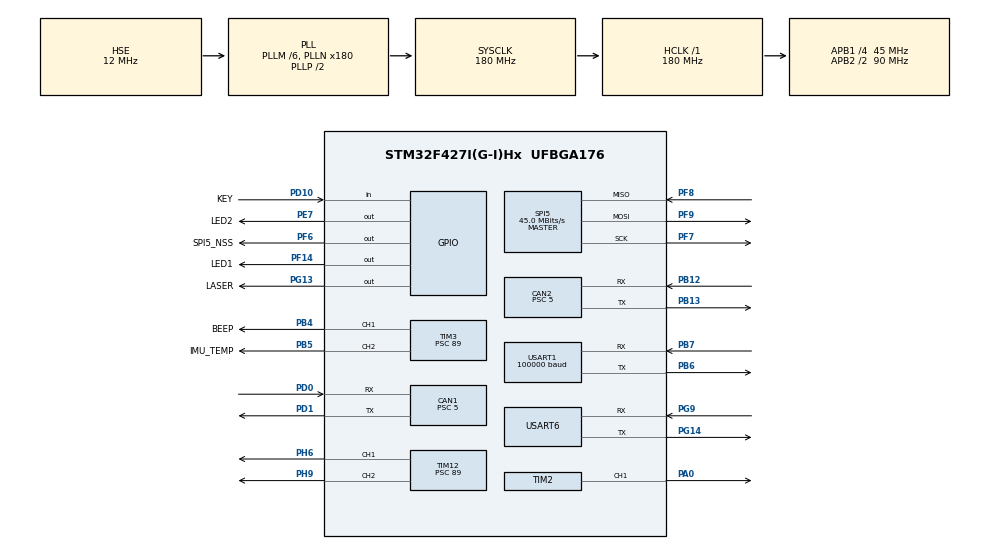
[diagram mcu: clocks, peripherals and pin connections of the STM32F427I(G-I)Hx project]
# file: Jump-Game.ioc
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CAN1.ABOM=ENABLE
CAN1.BS1=CAN_BS1_5TQ
CAN1.BS2=CAN_BS2_3TQ
CAN1.CalculateTimeBit=1000
CAN1.CalculateTimeQuantum=111.11111111111111
CAN1.Prescaler=5
CAN2.ABOM=ENABLE
CAN2.BS1=CAN_BS1_5TQ
CAN2.BS2=CAN_BS2_3TQ
CAN2.CalculateTimeBit=1000
CAN2.CalculateTimeQuantum=111.11111111111111
CAN2.Prescaler=5
Dma.Request0=USART1_RX
Dma.Request1=USART6_RX
Dma.USART1_RX.0.Direction=DMA_PERIPH_TO_MEMORY
Dma.USART1_RX.0.FIFOMode=DMA_FIFOMODE_DISABLE
Dma.USART1_RX.0.Instance=DMA2_Stream2
Dma.USART1_RX.0.MemDataAlignment=DMA_MDATAALIGN_BYTE
Dma.USART1_RX.0.MemInc=DMA_MINC_ENABLE
Dma.USART1_RX.0.Mode=DMA_NORMAL
Dma.USART1_RX.0.PeriphDataAlignment=DMA_PDATAALIGN_BYTE
Dma.USART1_RX.0.PeriphInc=DMA_PINC_DISABLE
Dma.USART1_RX.0.Priority=DMA_PRIORITY_LOW
Dma.USART6_RX.1.Direction=DMA_PERIPH_TO_MEMORY
Dma.USART6_RX.1.FIFOMode=DMA_FIFOMODE_DISABLE
Dma.USART6_RX.1.Instance=DMA2_Stream1
Dma.USART6_RX.1.MemDataAlignment=DMA_MDATAALIGN_BYTE
Dma.USART6_RX.1.MemInc=DMA_MINC_ENABLE
Dma.USART6_RX.1.Mode=DMA_NORMAL
Dma.USART6_RX.1.PeriphDataAlignment=DMA_PDATAALIGN_BYTE
Dma.USART6_RX.1.PeriphInc=DMA_PINC_DISABLE
Dma.USART6_RX.1.Priority=DMA_PRIORITY_LOW
Mcu.Family=STM32F4
Mcu.Name=STM32F427I(G-I)Hx
Mcu.Package=UFBGA176
NVIC.CAN1_RX0_IRQn=true\:0\:0\:false\:false\:true\:true
NVIC.CAN2_RX0_IRQn=true\:0\:0\:false\:false\:true\:true
NVIC.DMA2_Stream1_IRQn=true\:0\:0\:false\:false\:true\:false
NVIC.DMA2_Stream2_IRQn=true\:0\:0\:false\:false\:true\:false
NVIC.PriorityGroup=NVIC_PRIORITYGROUP_4
NVIC.TIM6_DAC_IRQn=true\:0\:0\:false\:false\:true\:false
NVIC.TimeBase=TIM6_DAC_IRQn
NVIC.TimeBaseIP=TIM6
NVIC.USART1_IRQn=true\:0\:0\:false\:false\:true\:true
NVIC.USART6_IRQn=true\:0\:0\:false\:false\:true\:true
PA0/WKUP.Signal=S_TIM2_CH1_ETR
PA13.Mode=Serial_Wire
PA13.Signal=SYS_JTMS-SWDIO
PA14.Mode=Serial_Wire
PA14.Signal=SYS_JTCK-SWCLK
PB12.Mode=Slave
PB12.Signal=CAN2_RX
PB13.Mode=Slave
PB13.Signal=CAN2_TX
PB4.GPIO_Label=BEEP
PB4.Signal=S_TIM3_CH1
PB5.GPIO_Label=IMU_TEMP
PB5.Signal=S_TIM3_CH2
PB6.Mode=Asynchronous
PB6.Signal=USART1_TX
PB7.Mode=Asynchronous
PB7.Signal=USART1_RX
PD0.Mode=Master
PD0.Signal=CAN1_RX
PD1.Mode=Master
PD1.Signal=CAN1_TX
PD10.GPIO_Label=KEY
PD10.Signal=GPIO_Input
PE7.GPIO_Label=LED2
PE7.Signal=GPIO_Output
PF14.GPIO_Label=LED1
PF14.Signal=GPIO_Output
PF6.GPIO_Label=SPI5_NSS
PF6.Signal=GPIO_Output
PF7.Mode=Full_Duplex_Master
PF7.Signal=SPI5_SCK
PF8.Mode=Full_Duplex_Master
PF8.Signal=SPI5_MISO
PF9.Mode=Full_Duplex_Master
PF9.Signal=SPI5_MOSI
PG13.GPIO_Label=LASER
PG13.Signal=GPIO_Output
PG14.Mode=Asynchronous
PG14.Signal=USART6_TX
PG9.Mode=Asynchronous
PG9.Signal=USART6_RX
PH0/OSC_IN.Mode=HSE-External-Oscillator
PH0/OSC_IN.Signal=RCC_OSC_IN
PH1/OSC_OUT.Mode=HSE-External-Oscillator
PH1/OSC_OUT.Signal=RCC_OSC_OUT
PH6.Signal=S_TIM12_CH1
PH9.Signal=S_TIM12_CH2
ProjectManager.HeapSize=0x200
ProjectManager.StackSize=0x400
ProjectManager.TargetToolchain=MDK-ARM V5
RCC.48MHZClocksFreq_Value=90000000
RCC.AHBFreq_Value=180000000
RCC.APB1CLKDivider=RCC_HCLK_DIV4
RCC.APB1Freq_Value=45000000
RCC.APB1TimFreq_Value=90000000
RCC.APB2CLKDivider=RCC_HCLK_DIV2
RCC.APB2Freq_Value=90000000
RCC.APB2TimFreq_Value=180000000
RCC.CortexFreq_Value=180000000
RCC.HCLKFreq_Value=180000000
RCC.HSE_VALUE=12000000
RCC.HSI_VALUE=16000000
RCC.LSE_VALUE=32768
RCC.PLLM=6
RCC.PLLN=180
RCC.PLLSourceVirtual=RCC_PLLSOURCE_HSE
RCC.SYSCLKFreq_VALUE=180000000
RCC.SYSCLKSource=RCC_SYSCLKSOURCE_PLLCLK
RCC.VCOOutputFreq_Value=360000000
SH.S_TIM12_CH1.0=TIM12_CH1,PWM Generation1 CH1
SH.S_TIM12_CH2.0=TIM12_CH2,PWM Generation2 CH2
SH.S_TIM2_CH1_ETR.0=TIM2_CH1,PWM Generation1 CH1
SH.S_TIM3_CH1.0=TIM3_CH1,PWM Generation1 CH1
SH.S_TIM3_CH2.0=TIM3_CH2,PWM Generation2 CH2
SPI5.CalculateBaudRate=45.0 MBits/s
SPI5.Direction=SPI_DIRECTION_2LINES
SPI5.Mode=SPI_MODE_MASTER
SPI5.VirtualType=VM_MASTER
TIM12.Channel-PWM\ Generation1\ CH1=TIM_CHANNEL_1
TIM12.Channel-PWM\ Generation2\ CH2=TIM_CHANNEL_2
TIM12.Period=20000
TIM12.Prescaler=89
TIM12.Pulse-PWM\ Generation1\ CH1=1000
TIM12.Pulse-PWM\ Generation2\ CH2=1000
TIM2.Channel-PWM\ Generation1\ CH1=TIM_CHANNEL_1
TIM2.Period=20000
TIM2.Prescaler=89
TIM2.Pulse-PWM\ Generation1\ CH1=1500
TIM3.Channel-PWM\ Generation1\ CH1=TIM_CHANNEL_1
TIM3.Channel-PWM\ Generation2\ CH2=TIM_CHANNEL_2
TIM3.Period=286
TIM3.Prescaler=89
USART1.BaudRate=100000
USART1.VirtualMode=VM_ASYNC
USART6.VirtualMode=VM_ASYNC
VP_SYS_VS_tim6.Mode=TIM6
VP_TIM12_VS_ClockSourceINT.Mode=Internal
VP_TIM2_VS_ClockSourceINT.Mode=Internal
VP_TIM3_VS_ClockSourceINT.Mode=Internal
board=Jump-Game

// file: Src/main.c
/**
  ******************************************************************************
  * File Name          : main.c
  * Description        : Main program body
  ******************************************************************************
  ** This notice applies to any and all portions of this file
  * that are not between comment pairs USER CODE BEGIN and
  * USER CODE END. Other portions of this file, whether
  * inserted by the user or by software development tools
  * are owned by their respective copyright owners.
  *
  * COPYRIGHT(c) 2018 STMicroelectronics
  *
  * Redistribution and use in source and binary forms, with or without modification,
  * are permitted provided that the following conditions are met:
  *   1. Redistributions of source code must retain the above copyright notice,
  *      this list of conditions and the following disclaimer.
  *   2. Redistributions in binary form must reproduce the above copyright notice,
  *      this list of conditions and the following disclaimer in the documentation
  *      and/or other materials provided with the distribution.
  *   3. Neither the name of STMicroelectronics nor the names of its contributors
  *      may be used to endorse or promote products derived from this software
  *      without specific prior written permission.
  *
  * THIS SOFTWARE IS PROVIDED BY THE COPYRIGHT HOLDERS AND CONTRIBUTORS "AS IS"
  * AND ANY EXPRESS OR IMPLIED WARRANTIES, INCLUDING, BUT NOT LIMITED TO, THE
  * IMPLIED WARRANTIES OF MERCHANTABILITY AND FITNESS FOR A PARTICULAR PURPOSE ARE
  * DISCLAIMED. IN NO EVENT SHALL THE COPYRIGHT HOLDER OR CONTRIBUTORS BE LIABLE
  * FOR ANY DIRECT, INDIRECT, INCIDENTAL, SPECIAL, EXEMPLARY, OR CONSEQUENTIAL
  * DAMAGES (INCLUDING, BUT NOT LIMITED TO, PROCUREMENT OF SUBSTITUTE GOODS OR
  * SERVICES; LOSS OF USE, DATA, OR PROFITS; OR BUSINESS INTERRUPTION) HOWEVER
  * CAUSED AND ON ANY THEORY OF LIABILITY, WHETHER IN CONTRACT, STRICT LIABILITY,
  * OR TORT (INCLUDING NEGLIGENCE OR OTHERWISE) ARISING IN ANY WAY OUT OF THE USE
  * OF THIS SOFTWARE, EVEN IF ADVISED OF THE POSSIBILITY OF SUCH DAMAGE.
  *
  ******************************************************************************
  */

#include "main.h"
#include "stm32f4xx_hal.h"
#include "can.h"
#include "dma.h"
#include "spi.h"
#include "tim.h"
#include "usart.h"
#include "gpio.h"

/* USER CODE BEGIN Includes */
#include "bsp_can.h"
#include "bsp_uart.h"
#include "pid.h"
/* USER CODE END Includes */

/* USER CODE BEGIN PV */
/* Private variables ---------------------------------------------------------*/
typedef enum
{
	noaction = 0,				//什么也不做
	manualstart,				//手动触碰，一定时间后松开
	ready,							//读取数据，准备放下
	touch,							//放下竹签，触碰屏幕
	jumping,						//抬起
}jump_state_t;
jump_state_t jump_state;

uint32_t manual_touch_time = 750;
uint32_t jump_time;
uint32_t wait_time = 0;

int32_t totalecd_target;
int16_t speedtar_3508;
int16_t current_3508;

#define touch_ecd		2000
#define origin_ecd -2000

float param_a = 1;			//1900
float param_b = 0;
float measure_distance;

extern float rece_distance_midvalue;

//#define origin_ccr	1220		//1220
//#define touch_ccr		1100
/* USER CODE END PV */

void SystemClock_Config(void);

/* USER CODE BEGIN PFP */
/* Private function prototypes -----------------------------------------------*/

/* USER CODE END PFP */

int main(void)
{

	{

  /* MCU Configuration----------------------------------------------------------*/

  /* Reset of all peripherals, Initializes the Flash interface and the Systick. */
  HAL_Init();

  /* Configure the system clock */
  SystemClock_Config();

  /* Initialize all configured peripherals */
  MX_GPIO_Init();
  MX_DMA_Init();
  MX_CAN1_Init();
  MX_CAN2_Init();
  MX_SPI5_Init();
  MX_USART1_UART_Init();
  MX_TIM3_Init();
  MX_TIM12_Init();
  MX_TIM2_Init();
  MX_USART6_UART_Init();

  /* USER CODE BEGIN 2 */
	dbus_init();
	manifold_uart_init();
	}

	my_can_filter_init_recv_all();
  HAL_CAN_Receive_IT(&hcan1, CAN_FIFO0);
	HAL_CAN_Receive_IT(&hcan2, CAN_FIFO0); //放后面会死机

	HAL_Delay(3000);

//	HAL_TIM_PWM_Start(&htim8, TIM_CHANNEL_1); // test
	HAL_TIM_PWM_Start(&htim2, TIM_CHANNEL_1);

//	ReadAllFromFlash();
	PID_struct_init(&pid_3508,			 POSITION_PID, 5000, 2000, 0.3f, 0.0f,  0);
	PID_struct_init(&pid_3508_speed, POSITION_PID, 6000, 2000, 6, 	0.0f,  	0);

	totalecd_target = origin_ecd;
  /* USER CODE END 2 */

  /* Infinite loop */
  while (1)
  {

  /* USER CODE BEGIN 3 */
		static uint32_t touch_start_tick;
		static uint32_t jump_start_tick;
		static uint8_t last_rc_sw1 = 0;
		static uint8_t last_rc_sw2 = 0;
		uint32_t now = HAL_GetTick();

		if(rc.sw1 == RC_MI)
			jump_state = noaction;

		switch(jump_state)
		{
			case noaction:
			{
				/* 右拨杆打上之后可用ch2摇杆控制位置，打中归零 */
				if(rc.sw2 == RC_UP)
				{
					totalecd_target += rc.ch2;
				}

				else
				{
					if(rc.sw2 == RC_MI && last_rc_sw2 == RC_UP)
					{
						moto_ecd_reset(&moto_3508);
					}

					totalecd_target = origin_ecd;
					if(rc.sw1 == RC_DN)
					{
						jump_state = ready;
					}
					else if(rc.sw1 == RC_UP && last_rc_sw1 != RC_UP)
					{
						jump_state = manualstart;
						touch_start_tick = now;
					}
				}
			}
			break;

			case manualstart:
			{
				totalecd_target = touch_ecd;
				if(now - touch_start_tick > manual_touch_time)
				{
					jump_state = noaction;								//release the steering
				}
			}
			break;

			case ready:
			{
				totalecd_target = origin_ecd;
				if(rece_data.sofa == 'a' && rece_data.sof5 == '5' && rece_data.endf1 == 'f' && rece_data.endf2 == 'f' \
					 && rece_flag == 1)
				{
					jump_time = rece_data.time;				//获取应该按下的触摸时长
					touch_start_tick = now;
					jump_state = touch;							//put down the touch thing
				}
			}
			break;

			case touch:
			{
				totalecd_target = touch_ecd;
				if(now - touch_start_tick > jump_time)
				{
					jump_state = jumping;								//release the 3508
					jump_start_tick = now;
				}
			}
			break;

			case jumping:
			{
				totalecd_target = origin_ecd;
				rece_flag = 0;							//抬起后，将接收标志置0.标志在接收中断中复位
				if(now - jump_start_tick > wait_time)
				{
					jump_state = ready;
				}
			}
			break;
		}

//		TIM2->CCR1 = rc.ch4 + 1500;
		last_rc_sw1 = rc.sw1;
		last_rc_sw2 = rc.sw2;

//		speedtar_3508 = rc.ch4 * 5;
//		totalecd_target += rc.ch4 / 10;
		speedtar_3508 = pid_calc(&pid_3508, moto_3508.total_ecd, totalecd_target);
		current_3508 = pid_calc(&pid_3508_speed, moto_3508.speed_rpm, speedtar_3508);

		set_200_current(&hcan1, current_3508, 0, 0, 0);
		HAL_Delay(2);
  }
  /* USER CODE END 3 */

}

/** System Clock Configuration
*/
void SystemClock_Config(void)
{

  RCC_OscInitTypeDef RCC_OscInitStruct;
  RCC_ClkInitTypeDef RCC_ClkInitStruct;

    /**Configure the main internal regulator output voltage
    */
  __HAL_RCC_PWR_CLK_ENABLE();

  __HAL_PWR_VOLTAGESCALING_CONFIG(PWR_REGULATOR_VOLTAGE_SCALE1);

    /**Initializes the CPU, AHB and APB busses clocks
    */
  RCC_OscInitStruct.OscillatorType = RCC_OSCILLATORTYPE_HSE;
  RCC_OscInitStruct.HSEState = RCC_HSE_ON;
  RCC_OscInitStruct.PLL.PLLState = RCC_PLL_ON;
  RCC_OscInitStruct.PLL.PLLSource = RCC_PLLSOURCE_HSE;
  RCC_OscInitStruct.PLL.PLLM = 6;
  RCC_OscInitStruct.PLL.PLLN = 180;
  RCC_OscInitStruct.PLL.PLLP = RCC_PLLP_DIV2;
  RCC_OscInitStruct.PLL.PLLQ = 4;
  if (HAL_RCC_OscConfig(&RCC_OscInitStruct) != HAL_OK)
  {
    _Error_Handler(__FILE__, __LINE__);
  }

    /**Activate the Over-Drive mode
    */
  if (HAL_PWREx_EnableOverDrive() != HAL_OK)
  {
    _Error_Handler(__FILE__, __LINE__);
  }

    /**Initializes the CPU, AHB and APB busses clocks
    */
  RCC_ClkInitStruct.ClockType = RCC_CLOCKTYPE_HCLK|RCC_CLOCKTYPE_SYSCLK
                              |RCC_CLOCKTYPE_PCLK1|RCC_CLOCKTYPE_PCLK2;
  RCC_ClkInitStruct.SYSCLKSource = RCC_SYSCLKSOURCE_PLLCLK;
  RCC_ClkInitStruct.AHBCLKDivider = RCC_SYSCLK_DIV1;
  RCC_ClkInitStruct.APB1CLKDivider = RCC_HCLK_DIV4;
  RCC_ClkInitStruct.APB2CLKDivider = RCC_HCLK_DIV2;

  if (HAL_RCC_ClockConfig(&RCC_ClkInitStruct, FLASH_LATENCY_5) != HAL_OK)
  {
    _Error_Handler(__FILE__, __LINE__);
  }

    /**Configure the Systick interrupt time
    */
  HAL_SYSTICK_Config(HAL_RCC_GetHCLKFreq()/1000);

    /**Configure the Systick
    */
  HAL_SYSTICK_CLKSourceConfig(SYSTICK_CLKSOURCE_HCLK);

  /* SysTick_IRQn interrupt configuration */
  HAL_NVIC_SetPriority(SysTick_IRQn, 0, 0);
}

void HAL_TIM_PeriodElapsedCallback(TIM_HandleTypeDef *htim)
{
  if (htim->Instance == TIM6) {
    HAL_IncTick();
  }
}

void _Error_Handler(char * file, int line)
{
  while(1)
  {
  }
}

/************************ (C) COPYRIGHT STMicroelectronics *****END OF FILE****/
